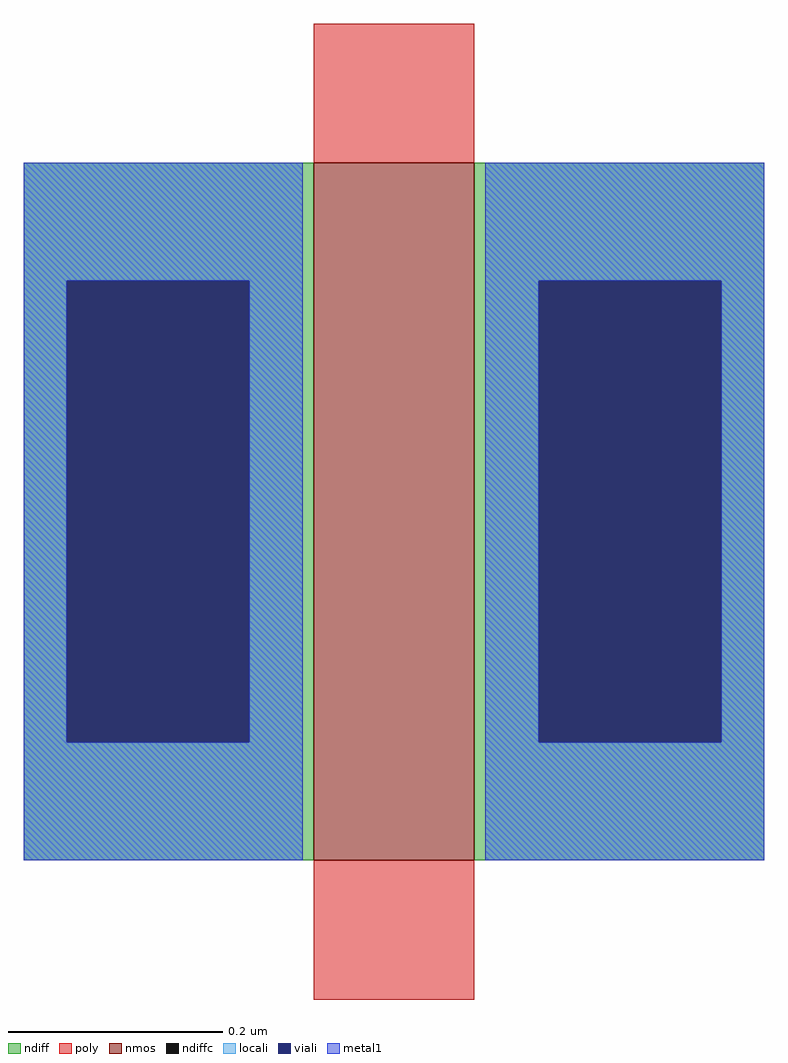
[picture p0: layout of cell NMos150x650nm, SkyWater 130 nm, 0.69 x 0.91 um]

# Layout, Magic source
magic
tech sky130A
<< nmos >>
rect 0 0 15 65
<< ndiff >>
rect -27 54 0 65
rect -27 11 -23 54
rect -6 11 0 54
rect -27 0 0 11
rect 15 54 42 65
rect 15 11 21 54
rect 38 11 42 54
rect 15 0 42 11
<< ndiffc >>
rect -23 11 -6 54
rect 21 11 38 54
<< poly >>
rect 0 65 15 78
rect 0 -13 15 0
<< locali >>
rect -27 54 -1 65
rect -27 11 -23 54
rect -6 11 -1 54
rect -27 0 -1 11
rect 16 54 42 65
rect 16 11 21 54
rect 38 11 42 54
rect 16 0 42 11
<< viali >>
rect -23 11 -6 54
rect 21 11 38 54
<< metal1 >>
rect -27 54 -1 65
rect -27 11 -23 54
rect -6 11 -1 54
rect -27 0 -1 11
rect 16 54 42 65
rect 16 11 21 54
rect 38 11 42 54
rect 16 0 42 11
<< end >>
